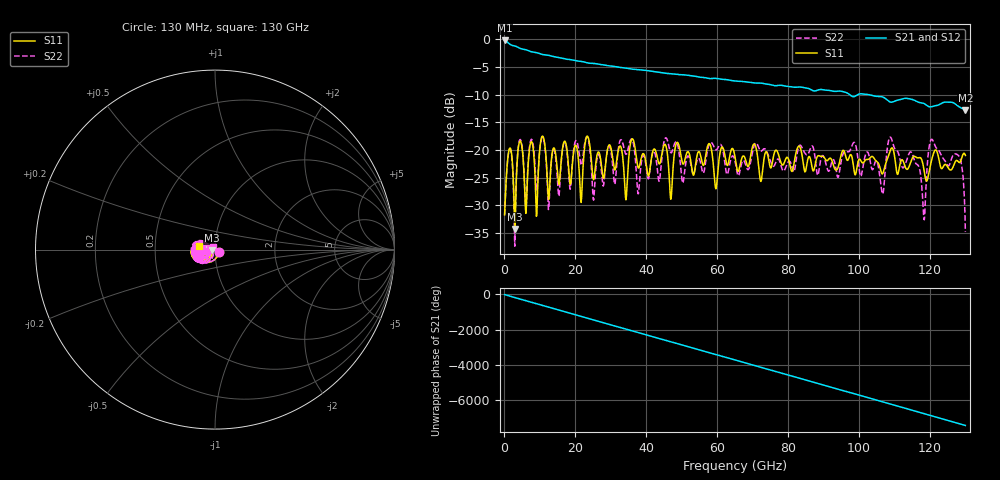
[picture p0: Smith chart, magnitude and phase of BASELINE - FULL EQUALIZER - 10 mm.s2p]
! TOUCHSTONE file generated by CST MICROWAVE STUDIO
! Date and time: Fri Nov 20 14:19:27 2026
! Project name: BASELINE - FULL EQUALIZER - 10 mm.cst
! Parameters = {BEND_RADIUS=0.1025; BOX_H=0.0047; CAP_H=0.0014; CAP_W=0.002; CLAD_H=0.0036; DEV_L=11.08; DEV_W=1.2; EL_L=10.08; EL_L2=5.04; EL_L3=5.04; GAP=0.00445; GAP2=0.0048; ISTANBUL_V1=0; L1=0.02; L2=0.066; L_OFF=0.04; MTX=0.002; N_CELL=55; N_CELL2=27; N_CELL3=27; PITCH=0.18; SI_H=0.525; SLAB_H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
! Header version: 2024
! Port assignment regex: !\s*Touchstone port\s*([0-9]+)\s*=\s*(CST MWS port|CST DES external port|CST DES block port)\s*(.+)\s* \(\"(.*)\"\)(\s*mode\s*([0-9]+))?.*
! Touchstone port assignment:
! Touchstone port 1 = CST MWS port 1 ("")
! Touchstone port 2 = CST MWS port 2 ("")
# GHz S MA R 50
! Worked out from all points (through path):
!   1000 points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, 130 MHz to 130 GHz, reference 50 ohm
!   highest |S21| = -0.20 dB at 130 MHz (marker M1); lowest = -12.9 dB at 130 GHz (marker M2)
!   group delay of S21, straight-line fit = 159 ps
!   lowest |S11| = -34.3 dB at 2.99 GHz (marker M3), VSWR 1.04, Z = 48.1 - j0.38 ohm
!   |S11| at or under -10 dB: start of sweep to end of sweep
!   |S22| runs from -37.4 to -17.6 dB; largest |S21 - S12| = 1.6e-06
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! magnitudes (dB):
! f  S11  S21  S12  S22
! 130 MHz  -31.7  -0.2  -0.2  -31.7
! 1.56 GHz  -19.7  -0.9  -0.9  -19.9
! 2.99 GHz  -34.3  -1.2  -1.2  -37.4
! 4.55 GHz  -18.4  -1.6  -1.6  -18.1
! 6.11 GHz  -31.5  -1.9  -1.9  -31.2
! 10.79 GHz  -17.5  -2.7  -2.7  -17.7
! 12.61 GHz  -28.9  -2.9  -2.9  -30.5
! 17.03 GHz  -18.4  -3.5  -3.5  -18.6
! 21.84 GHz  -28.4  -4.0  -4.0  -22.7
! 23.4 GHz  -17.5  -4.2  -4.2  -17.6
! 25.22 GHz  -25.4  -4.4  -4.4  -29.1
! 32.89 GHz  -19.4  -5.1  -5.1  -18.1
! 34.32 GHz  -29.0  -5.2  -5.2  -20.8
! 43.42 GHz  -22.1  -5.9  -5.9  -24.9
! 65.13 GHz  -21.5  -7.5  -7.5  -22.2
! 86.71 GHz  -22.9  -9.2  -9.2  -19.3
! 106.6 GHz  -24.3  -10.4  -10.4  -27.9
! 108.4 GHz  -20.9  -11.2  -11.2  -18.1
! 118.3 GHz  -23.5  -11.6  -11.6  -32.5
! 120.4 GHz  -22.1  -12.2  -12.2  -18.1
! 127.8 GHz  -22.0  -12.0  -12.0  -20.9
! 130 GHz  -21.0  -12.9  -12.9  -34.8
